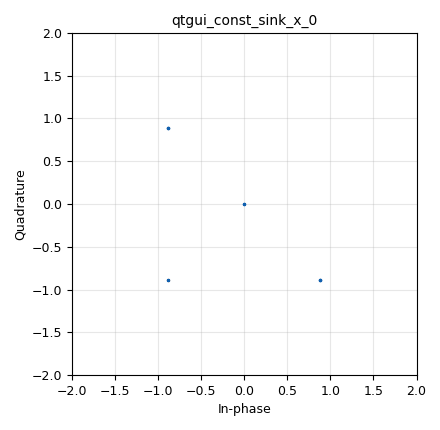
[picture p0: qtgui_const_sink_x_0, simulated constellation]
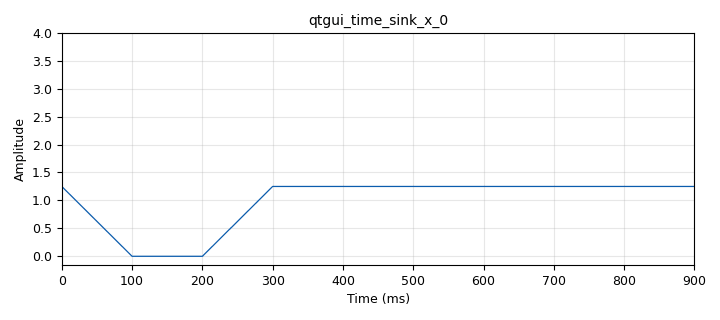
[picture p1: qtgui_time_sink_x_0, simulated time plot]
options:
  parameters:
    author: Osaze Shears
    generate_options: qt_gui
    id: dfr
    output_language: python
    title: DFR Spectrum Sensing
  states: {}

blocks:
- name: qpsk_constellation
  id: variable_constellation
  parameters:
    const_points: '[-1-1j, -1+1j, 1+1j, 1-1j, 0]'
    dims: '1'
    normalization: digital.constellation.AMPLITUDE_NORMALIZATION
    precision: '8'
    rot_sym: '4'
    sym_map: '[0, 1, 3, 2, 4]'
    type: calcdist
  states: {}
- name: samp_rate
  id: variable
  parameters:
    value: '10'
  states: {}
- name: analog_random_source_x_0
  id: analog_random_source_x
  parameters:
    max: '5'
    min: '0'
    num_samps: '1000'
    repeat: 'True'
    type: byte
  states: {}
- name: blocks_throttle_0
  id: blocks_throttle
  parameters:
    samples_per_second: samp_rate
    type: byte
  states: {}
- name: digital_constellation_encoder_bc_1
  id: digital_constellation_encoder_bc
  parameters:
    constellation: qpsk_constellation
  states: {}
- name: epy_block_0
  id: epy_block
  parameters:
    Feedback_Scale: '0.4'
    Input_Gain: '0.5'
    Mask_Max: '0.5'
    Mask_Min: '-0.5'
    Mask_Type: '''Uniform'''
    Random_Seed: '0'
    Virtual_Nodes: '50'
    _source_code: |
      """
      Embedded Python Blocks:

      Each time this file is saved, GRC will instantiate the first class it finds
      to get ports and parameters of your block. The arguments to __init__  will
      be the parameters. All of them are required to have default values!
      """

      import numpy as np
      from gnuradio import gr


      class blk(gr.sync_block):  # other base classes are basic_block, decim_block, interp_block
          """DFR Block - Perform DFR Inference"""

          def __init__(self, Virtual_Nodes=50,Input_Gain=0.5,Feedback_Scale=0.4,Random_Seed=0,Mask_Min=-0.5,Mask_Max=0.5,Mask_Type="Uniform"):  # only default arguments here
              """arguments to this function show up as parameters in GRC"""
              gr.sync_block.__init__(
                  self,
                  name='DFR Block',   # will show up in GRC
                  in_sig=[np.complex64],
                  out_sig=[np.float32]
              )
              # if an attribute with the same name as a parameter is found,
              # a callback is registered (properties work, too).
              self.Virtual_Nodes = Virtual_Nodes
              self.seed = Random_Seed
              self.rng = np.random.default_rng(Random_Seed)
              self.N = Virtual_Nodes
              self.gamma = Input_Gain
              self.eta = Feedback_Scale
              self.LAST_NODE = self.N - 1
              self.reg = 1e-8
              self.reservoir = np.zeros(self.N)
              self.mask = self.rng.uniform(Mask_Min,Mask_Max,self.N)

              

          def work(self, input_items, output_items):
              """example: multiply with constant"""
              # output_items[0][:] = input_items[0] * self.multiply_const
              # print(input_items[0])

              ADC_MAX_SIGNED = 2**11


              i_data_norm = np.real(input_items[0])
              q_data_norm = np.imag(input_items[0])

              x = np.sqrt(np.power(i_data_norm,2) + np.power(q_data_norm,2))
              # y = ss_data[:,2]

              output_items[0][:] = x

              # mask generation
              # masked_samples = np.empty((num_samples,N))
              # for i in range(num_samples):
              #     masked_samples[i] = mask * x[i]

              # masked_sample = 

              # for j in range(N):

              #     g_i = mg(gamma * masked_samples[TRAIN_DATA_BEGIN + i][j] + eta * reservoir[LAST_NODE])
              #     reservoir[1:N] = reservoir[0:LAST_NODE]
              #     reservoir[0] = g_i



              # y_hat = reservoir_history.dot(W)


              return len(output_items[0])

          def mg(self,x):
              a = 2
              b = 0.8
              c = 0.2
              d = 2.1
              p = 10

              return (a * x) / (b + c * np.power( (d * x), p) )
  states: {}
- name: qtgui_const_sink_x_0
  id: qtgui_const_sink_x
  parameters:
    size: '10'
    type: complex
  states: {}
- name: qtgui_const_sink_x_0_0
  id: qtgui_const_sink_x
  parameters:
    size: '1024'
    type: complex
  states: {state: disabled}
- name: qtgui_time_sink_x_0
  id: qtgui_time_sink_x
  parameters:
    size: '10'
    srate: samp_rate
    type: float
    ymax: '4'
    ymin: '0'
  states: {}

connections:
- [analog_random_source_x_0, '0', blocks_throttle_0, '0']
- [blocks_throttle_0, '0', digital_constellation_encoder_bc_1, '0']
- [digital_constellation_encoder_bc_1, '0', epy_block_0, '0']
- [digital_constellation_encoder_bc_1, '0', qtgui_const_sink_x_0, '0']
- [digital_constellation_encoder_bc_1, '0', qtgui_const_sink_x_0_0, '0']
- [epy_block_0, '0', qtgui_time_sink_x_0, '0']

metadata:
  file_format: 1
